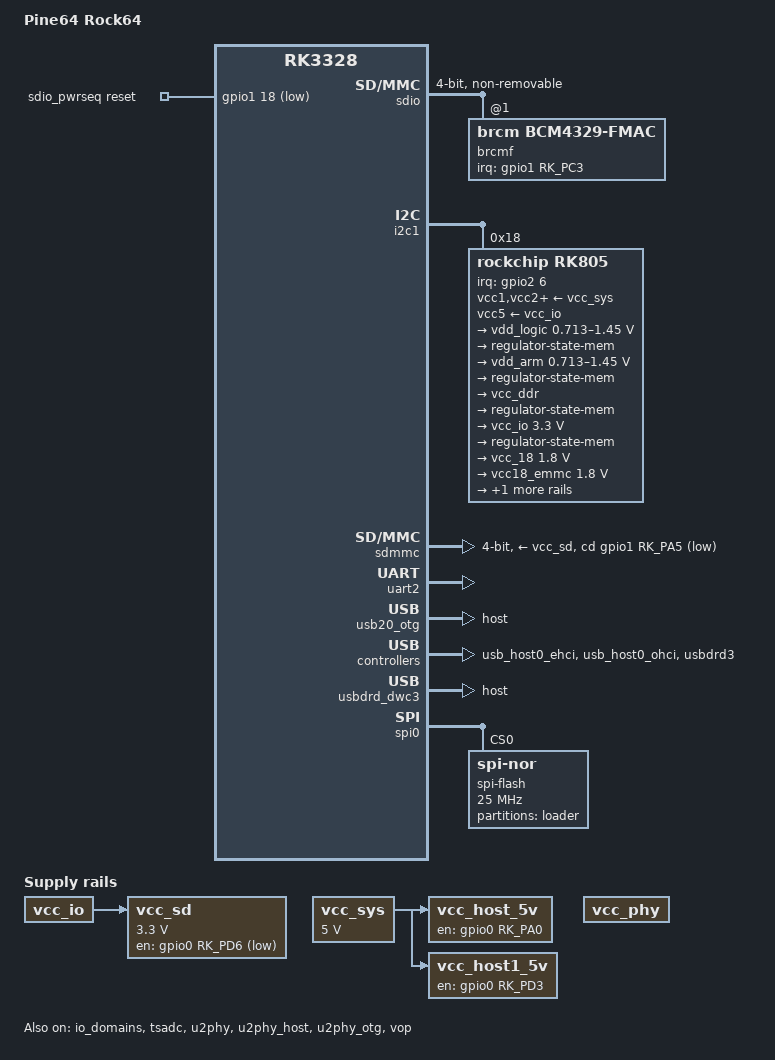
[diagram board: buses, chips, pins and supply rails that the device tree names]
// SPDX-License-Identifier: (GPL-2.0+ OR MIT)
/*
 * Copyright (c) 2017 PINE64
 */

/dts-v1/;
#include "rk3328.dtsi"

/ {
	model = "Pine64 Rock64";
	compatible = "pine64,rock64", "rockchip,rk3328";

	chosen {
		bootargs = "earlycon=uart8250,mmio32,0xff130000";
		stdout-path = "serial2:1500000n8";
	};

	sdio_pwrseq: sdio-pwrseq {
		compatible = "mmc-pwrseq-simple";
		pinctrl-names = "default";
		pinctrl-0 = <&wifi_enable_h>;

		/*
		 * On the module itself this is one of these (depending
		 * on the actual card populated):
		 * - SDIO_RESET_L_WL_REG_ON
		 * - PDN (power down when low)
		 */
		reset-gpios = <&gpio1 18 GPIO_ACTIVE_LOW>;
    post-power-on-delay-ms = <10>;
	};

	vcc_sd: sdmmc-regulator {
		compatible = "regulator-fixed";
		gpio = <&gpio0 RK_PD6 GPIO_ACTIVE_LOW>;
		pinctrl-names = "default";
		pinctrl-0 = <&sdmmc0m1_gpio>;
		regulator-name = "vcc_sd";
		regulator-min-microvolt = <3300000>;
		regulator-max-microvolt = <3300000>;
		vin-supply = <&vcc_io>;
	};

	vcc_host_5v: vcc-host-5v-regulator {
		compatible = "regulator-fixed";
		enable-active-high;
		gpio = <&gpio0 RK_PA0 GPIO_ACTIVE_HIGH>;
		pinctrl-names = "default";
		pinctrl-0 = <&usb30_host_drv>;
		regulator-name = "vcc_host_5v";
		regulator-always-on;
		vin-supply = <&vcc_sys>;
	};

	vcc_host1_5v: vcc_otg_5v: vcc-host1-5v-regulator {
		compatible = "regulator-fixed";
		enable-active-high;
		gpio = <&gpio0 RK_PD3 GPIO_ACTIVE_HIGH>;
		pinctrl-names = "default";
		pinctrl-0 = <&usb20_host_drv>;
		regulator-name = "vcc_host1_5v";
		regulator-always-on;
		vin-supply = <&vcc_sys>;
	};

	vcc_sys: vcc-sys {
		compatible = "regulator-fixed";
		regulator-name = "vcc_sys";
		regulator-always-on;
		regulator-boot-on;
		regulator-min-microvolt = <5000000>;
		regulator-max-microvolt = <5000000>;
	};

	vcc_phy: vcc-phy-regulator {
		compatible = "regulator-fixed";
		regulator-name = "vcc_phy";
		regulator-always-on;
		regulator-boot-on;
	};
};

&cpu0 {
	cpu-supply = <&vdd_arm>;
};

&cpu1 {
	cpu-supply = <&vdd_arm>;
};

&cpu2 {
	cpu-supply = <&vdd_arm>;
};

&cpu3 {
	cpu-supply = <&vdd_arm>;
};

&sdio {
	bus-width = <4>;
	cap-sd-highspeed;
	cap-sdio-irq;
	keep-power-in-suspend;
	max-frequency = <16000000>;
	mmc-pwrseq = <&sdio_pwrseq>;
	non-removable;
	pinctrl-names = "default";
	pinctrl-0 = <&sdmmc1_bus4 &sdmmc1_cmd &sdmmc1_clk>;
	status = "okay";

  brcmf: wifi@1 {
		compatible = "brcm,bcm4329-fmac";
		interrupt-parent = <&gpio1>;
		interrupts = <RK_PC3 GPIO_ACTIVE_HIGH>;
		interrupt-names = "host-wake";
		brcm,drive-strength = <6>;
		pinctrl-names = "default";
		pinctrl-0 = <&wifi_host_wake_l>; 
  };
};

&i2c1 {
	status = "okay";

	rk805: rk805@18 {
		compatible = "rockchip,rk805";
		reg = <0x18>;
		interrupt-parent = <&gpio2>;
		interrupts = <6 IRQ_TYPE_LEVEL_LOW>;
		#clock-cells = <1>;
		clock-output-names = "xin32k", "rk805-clkout2";
		gpio-controller;
		#gpio-cells = <2>;
		pinctrl-names = "default";
		pinctrl-0 = <&pmic_int_l>;
		rockchip,system-power-controller;
		wakeup-source;

		vcc1-supply = <&vcc_sys>;
		vcc2-supply = <&vcc_sys>;
		vcc3-supply = <&vcc_sys>;
		vcc4-supply = <&vcc_sys>;
		vcc5-supply = <&vcc_io>;
		vcc6-supply = <&vcc_sys>;

		regulators {
			vdd_logic: DCDC_REG1 {
				regulator-name = "vdd_logic";
				regulator-min-microvolt = <712500>;
				regulator-max-microvolt = <1450000>;
				regulator-initial-mode = <0x1>;
				regulator-ramp-delay = <12500>;
				regulator-always-on;
				regulator-boot-on;
				regulator-state-mem {
					regulator-mode = <0x2>;
					regulator-on-in-suspend;
					regulator-suspend-microvolt = <1000000>;
				};
			};

			vdd_arm: DCDC_REG2 {
				regulator-name = "vdd_arm";
				regulator-min-microvolt = <712500>;
				regulator-max-microvolt = <1450000>;
				regulator-initial-mode = <0x1>;
				regulator-ramp-delay = <12500>;
				regulator-always-on;
				regulator-boot-on;
				regulator-state-mem {
					regulator-mode = <0x2>;
					regulator-on-in-suspend;
					regulator-suspend-microvolt = <950000>;
				};
			};

			vcc_ddr: DCDC_REG3 {
				regulator-name = "vcc_ddr";
				regulator-initial-mode = <0x1>;
				regulator-always-on;
				regulator-boot-on;
				regulator-state-mem {
					regulator-mode = <0x2>;
					regulator-on-in-suspend;
				};
			};

			vcc_io: DCDC_REG4 {
				regulator-name = "vcc_io";
				regulator-min-microvolt = <3300000>;
				regulator-max-microvolt = <3300000>;
				regulator-initial-mode = <0x1>;
				regulator-always-on;
				regulator-boot-on;
				regulator-state-mem {
					regulator-mode = <0x2>;
					regulator-on-in-suspend;
					regulator-suspend-microvolt = <3300000>;
				};
			};

			vcc_18: LDO_REG1 {
				regulator-name = "vcc_18";
				regulator-min-microvolt = <1800000>;
				regulator-max-microvolt = <1800000>;
				regulator-always-on;
				regulator-boot-on;
				regulator-state-mem {
					regulator-on-in-suspend;
					regulator-suspend-microvolt = <1800000>;
				};
			};

			vcc18_emmc: LDO_REG2 {
				regulator-name = "vcc_18emmc";
				regulator-min-microvolt = <1800000>;
				regulator-max-microvolt = <1800000>;
				regulator-always-on;
				regulator-boot-on;
				regulator-state-mem {
					regulator-on-in-suspend;
					regulator-suspend-microvolt = <1800000>;
				};
			};

			vdd_10: LDO_REG3 {
				regulator-name = "vdd_10";
				regulator-min-microvolt = <1000000>;
				regulator-max-microvolt = <1000000>;
				regulator-always-on;
				regulator-boot-on;
				regulator-state-mem {
					regulator-on-in-suspend;
					regulator-suspend-microvolt = <1000000>;
				};
			};
		};
	};
};

&io_domains {
	status = "okay";

	vccio1-supply = <&vcc_io>;
	vccio2-supply = <&vcc18_emmc>;
	vccio3-supply = <&vcc_io>;
	vccio4-supply = <&vcc_18>;
	vccio5-supply = <&vcc_io>;
	vccio6-supply = <&vcc_io>;
	pmuio-supply = <&vcc_io>;
};

&pinctrl {
	pmic {
		pmic_int_l: pmic-int-l {
			rockchip,pins = <2 RK_PA6 RK_FUNC_GPIO &pcfg_pull_up>;
		};
	};

	usb2 {
		usb20_host_drv: usb20-host-drv {
			rockchip,pins = <0 RK_PD3 RK_FUNC_GPIO &pcfg_pull_none>;
		};
	};

	usb3 {
		usb30_host_drv: usb30-host-drv {
			rockchip,pins = <0 RK_PA0 RK_FUNC_GPIO &pcfg_pull_none>;
		};
	};

  sdio_pwrseq {
    wifi_enable_h: wifi-enable-h {
		rockchip,pins =
			<1 18 RK_FUNC_GPIO &pcfg_pull_none>;
    };
  };

	wifi {
		wifi_host_wake_l: wifi-host-wake-l {
      /** GPIO1_C3 */
			rockchip,pins = <1 RK_PC3 RK_FUNC_GPIO &pcfg_pull_none>;
		};
	};
};

&sdmmc {
	bus-width = <4>;
	cap-mmc-highspeed;
	cap-sd-highspeed;
	cd-gpios = <&gpio1 RK_PA5 GPIO_ACTIVE_LOW>;
	disable-wp;
	max-frequency = <150000000>;
	num-slots = <1>;
	pinctrl-names = "default";
	pinctrl-0 = <&sdmmc0_clk &sdmmc0_cmd &sdmmc0_dectn &sdmmc0_bus4>;
	supports-sd;
	vmmc-supply = <&vcc_sd>;
	vqmmc-supply = <&vcc_sd>;
	status = "okay";
};

&tsadc {
	rockchip,hw-tshut-mode = <0>;
	rockchip,hw-tshut-polarity = <0>;
	status = "okay";
};

&uart2 {
	status = "okay";
};

&u2phy {
	status = "okay";
};

&u2phy_host {
	status = "okay";
};

&u2phy_otg {
	status = "okay";
};

&usb20_otg {
	dr_mode = "host";
	status = "okay";
};

&usb_host0_ehci {
	status = "okay";
};

&usb_host0_ohci {
	status = "okay";
};

&usbdrd3 {
	status = "okay";
};

&usbdrd_dwc3 {
	dr_mode = "host";
	status = "okay";
};

&spi0 {
	status = "okay";

	/* SPI DMA does not work currently */
	/delete-property/ dmas;
	/delete-property/ #dma-cells;
	/delete-property/ dma-names;

	 spi-flash@0 {
		#address-cells = <0x1>;
		#size-cells = <1>;
		compatible = "jedec,spi-nor";
		reg = <0x0>;
		spi-max-frequency = <25000000>;
		status = "okay";
		m25p,fast-read;

		partitions {
			compatible = "fixed-partitions";
			#address-cells = <1>;
			#size-cells = <1>;

			loader@8000 {
				label = "loader";
				reg = <0x8000 0x3F0000>;
			};
		};
	};
};

&vop {
	status = "okay";
};

&vop_mmu {
	status = "okay";
};
